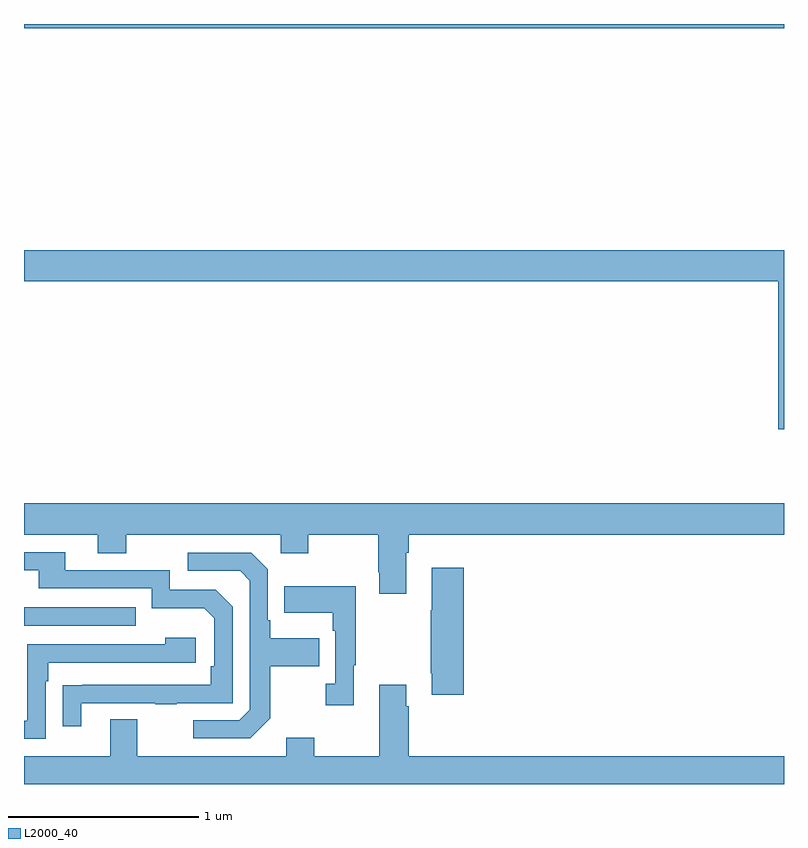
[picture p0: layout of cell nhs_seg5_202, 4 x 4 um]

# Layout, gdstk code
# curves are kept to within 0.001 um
import gdstk
lib = gdstk.Library(unit=1e-6, precision=1e-09)
def R(c, l, rs):  # rectangles x0, y0, x1, y1
    for r in rs: c.add(gdstk.rectangle(r[:2], r[2:], *l))
def P(c, l, *ps):  # polygons
    for p in ps: c.add(gdstk.Polygon(p, *l))
L2000_40 = (2000, 40)

nhs_seg5_202 = lib.new_cell('nhs_seg5_202')
R(nhs_seg5_202, L2000_40, [(123,837.633,123.587,837.729), (123,840.776,127,840.799)])
P(nhs_seg5_202, L2000_40, [(127,839.608),(123,839.608),(123,839.444),(126.971,839.444),(126.971,838.665),(127,838.665)],
  [(123,838.112),(123.389,838.112),(123.389,838.013),(123.537,838.013),(123.537,838.112),(124.35,838.112),(124.35,838.013),(124.497,838.013),(124.497,838.112),(124.864,838.112),(124.864,837.913),(124.871,837.913),(124.871,837.801),(125.011,837.801),(125.011,838.016),(125.024,838.016),(125.024,838.112),(127,838.112),(127,838.276),(123,838.276)],
  [(123.301,837.225),(123.691,837.225),(123.691,837.22),(123.803,837.22),(123.803,837.225),(124.098,837.225),(124.098,837.732),(124.008,837.822),(123.768,837.822),(123.768,837.924),(123.217,837.924),(123.217,838.02),(123,838.02),(123,837.924),(123.077,837.924),(123.077,837.828),(123.672,837.828),(123.672,837.725),(123.949,837.725),(124.002,837.672),(124.002,837.418),(123.982,837.418),(123.982,837.321),(123.205,837.32),(123.205,837.102),(123.301,837.102)],
  [(124.297,837.145),(124.297,837.418),(124.553,837.418),(124.553,837.565),(124.297,837.565),(124.297,837.661),(124.284,837.661),(124.284,837.93),(124.197,838.017),(123.861,838.017),(123.861,837.921),(124.137,837.921),(124.188,837.87),(124.188,837.189),(124.134,837.135),(123.891,837.135),(123.891,837.039),(124.191,837.039)],
  [(125.315,837.937),(125.147,837.937),(125.147,837.713),(125.14,837.713),(125.14,837.382),(125.147,837.382),(125.147,837.27),(125.315,837.27)],
  [(124.735,837.425),(124.747,837.425),(124.747,837.841),(124.369,837.841),(124.369,837.701),(124.626,837.701),(124.626,837.605),(124.638,837.605),(124.638,837.326),(124.587,837.326),(124.587,837.213),(124.735,837.213)],
  [(123.114,837.341),(123.127,837.341),(123.127,837.438),(123.904,837.438),(123.904,837.568),(123.743,837.568),(123.743,837.534),(123.018,837.534),(123.018,837.132),(123,837.132),(123,837.036),(123.114,837.036)],
  [(127,836.944),(125.024,836.944),(125.024,837.209),(125.011,837.209),(125.011,837.322),(124.871,837.322),(124.871,836.944),(124.527,836.944),(124.527,837.043),(124.379,837.043),(124.379,836.944),(123.595,836.944),(123.595,837.139),(123.455,837.139),(123.455,836.944),(123,836.944),(123,836.799),(127,836.799)])

lib.write_gds('nhs_seg5_202.gds')
